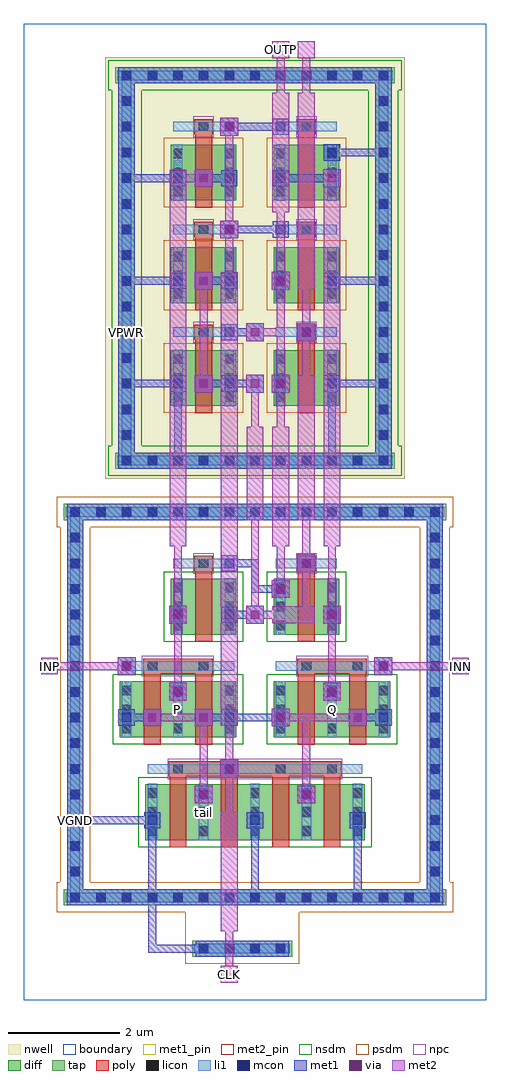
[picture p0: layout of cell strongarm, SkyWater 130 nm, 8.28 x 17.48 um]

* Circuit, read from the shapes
.subckt strongarm CLK INN INP OUTN OUTP P Q VGND VPWR tail
XM1 P INP tail VGND sky130_fd_pr__nfet_01v8 w=1 l=0.3 m=2
XM2 tail CLK VGND VGND sky130_fd_pr__nfet_01v8 w=1 l=0.3 m=4
XM3 OUTN OUTP P VGND sky130_fd_pr__nfet_01v8 w=1 l=0.3
XM4 Q INN tail VGND sky130_fd_pr__nfet_01v8 w=1 l=0.3 m=2
XM5 Q OUTN OUTP VGND sky130_fd_pr__nfet_01v8 w=1 l=0.3
XM6 OUTN OUTP VPWR VPWR sky130_fd_pr__pfet_01v8 w=1 l=0.3
XM7 OUTN CLK VPWR VPWR sky130_fd_pr__pfet_01v8 w=1 l=0.3
XM8 P CLK VPWR VPWR sky130_fd_pr__pfet_01v8 w=1 l=0.3
XM9 VPWR OUTN OUTP VPWR sky130_fd_pr__pfet_01v8 w=1 l=0.3
XM10 VPWR CLK OUTP VPWR sky130_fd_pr__pfet_01v8 w=1 l=0.3
XM11 VPWR CLK Q VPWR sky130_fd_pr__pfet_01v8 w=1 l=0.3
.ends

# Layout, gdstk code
import gdstk
lib = gdstk.Library(unit=1e-6, precision=1e-09)
def R(c, l, rs):  # rectangles x0, y0, x1, y1
    for r in rs: c.add(gdstk.rectangle(r[:2], r[2:], *l))
def A(c, l, x, y, w, h, nx, ny, dx, dy):  # array of equal rectangles
    R(c, l, [(x+i*dx, y+j*dy, x+i*dx+w, y+j*dy+h) for i in range(nx) for j in range(ny)])
nwell = (64, 20)
diff = (65, 20)
tap = (65, 44)
poly = (66, 20)
licon = (66, 44)
li1 = (67, 20)
mcon = (67, 44)
met1_pin = (68, 16)
met1 = (68, 20)
via = (68, 44)
met2_pin = (69, 16)
met2 = (69, 20)
nsdm = (93, 44)
psdm = (94, 20)
npc = (95, 20)
boundary = (235, 4)

strongarm = lib.new_cell('strongarm')
R(strongarm, nwell, [(1.455,9.335,6.825,16.885)])
A(strongarm, diff, 2.635, 10.64, 1.17, 1, 1, 3, 0, 1.84)
A(strongarm, diff, 4.475, 10.64, 1.17, 1, 1, 3, 0, 1.84)
R(strongarm, diff, [(2.175,2.865,6.105,3.865), (1.715,4.705,3.805,5.705), (4.475,4.705,6.565,5.705), (2.635,6.545,3.805,7.545), (4.475,6.545,5.645,7.545)])
R(strongarm, tap, [(3.015,0.775,4.805,1.065), (0.715,1.695,7.565,1.985), (0.775,1.695,1.065,8.885), (7.215,1.695,7.505,8.885), (0.715,8.595,7.565,8.885), (1.635,9.515,6.645,9.805), (1.695,9.515,1.985,16.705), (6.295,9.515,6.585,16.705), (1.635,16.415,6.645,16.705)])
A(strongarm, poly, 2.61, 2.735, 0.3, 1.405, 4, 1, 0.92, 0)
A(strongarm, poly, 3.07, 10.51, 0.3, 1.45, 1, 3, 0, 1.84)
A(strongarm, poly, 4.91, 10.51, 0.3, 1.45, 1, 3, 0, 1.84)
A(strongarm, poly, 3.055, 11.825, 0.33, 0.27, 1, 3, 0, 1.84)
A(strongarm, poly, 4.895, 11.825, 0.33, 0.27, 1, 3, 0, 1.84)
R(strongarm, poly, [(2.595,4.005,5.685,4.275), (2.15,4.575,2.45,5.98), (3.07,4.575,3.37,5.98), (4.91,4.575,5.21,5.98), (5.83,4.575,6.13,5.98), (2.135,5.845,3.385,6.115), (4.895,5.845,6.145,6.115), (3.07,6.415,3.37,7.82), (4.91,6.415,5.21,7.82), (3.055,7.685,3.385,7.955), (4.895,7.685,5.225,7.955)])
A(strongarm, licon, 3.135, 0.835, 0.17, 0.17, 4, 1, 0.46, 0)
A(strongarm, licon, 0.835, 1.755, 0.17, 0.17, 15, 2, 0.46, 6.9)
A(strongarm, licon, 0.835, 2.215, 0.17, 0.17, 1, 14, 0, 0.46)
A(strongarm, licon, 7.275, 2.215, 0.17, 0.17, 1, 14, 0, 0.46)
A(strongarm, licon, 2.215, 2.94, 0.17, 0.17, 5, 3, 0.92, 0.34)
A(strongarm, licon, 2.675, 4.055, 0.17, 0.17, 4, 2, 0.92, 2.565)
A(strongarm, licon, 1.755, 4.78, 0.17, 0.17, 6, 3, 0.92, 0.34)
A(strongarm, licon, 2.675, 6.96, 0.17, 0.17, 4, 2, 0.92, 0.34)
A(strongarm, licon, 1.755, 9.575, 0.17, 0.17, 11, 2, 0.46, 6.9)
A(strongarm, licon, 1.755, 10.035, 0.17, 0.17, 1, 14, 0, 0.46)
A(strongarm, licon, 6.355, 10.035, 0.17, 0.17, 1, 14, 0, 0.46)
A(strongarm, licon, 2.675, 10.715, 0.17, 0.17, 4, 3, 0.92, 0.34)
A(strongarm, licon, 3.135, 11.875, 0.17, 0.17, 1, 3, 0, 1.84)
A(strongarm, licon, 4.975, 11.875, 0.17, 0.17, 1, 3, 0, 1.84)
A(strongarm, licon, 2.675, 12.555, 0.17, 0.17, 4, 3, 0.92, 0.34)
A(strongarm, licon, 2.675, 14.395, 0.17, 0.17, 4, 3, 0.92, 0.34)
R(strongarm, licon, [(2.215,5.895,2.385,6.065), (3.135,5.895,3.305,6.065), (4.975,5.895,5.145,6.065), (5.895,5.895,6.065,6.065), (3.135,7.735,3.305,7.905), (4.975,7.735,5.145,7.905)])
A(strongarm, li1, 2.215, 2.86, 0.17, 1.01, 5, 1, 0.92, 0)
A(strongarm, li1, 1.755, 4.7, 0.17, 1.01, 6, 1, 0.92, 0)
A(strongarm, li1, 2.675, 6.54, 0.17, 1.01, 4, 2, 0.92, 4.095)
A(strongarm, li1, 2.675, 11.875, 1.09, 0.17, 1, 3, 0, 1.84)
A(strongarm, li1, 4.515, 11.875, 1.09, 0.17, 1, 3, 0, 1.84)
A(strongarm, li1, 2.675, 12.475, 0.17, 1.01, 4, 2, 0.92, 1.84)
R(strongarm, li1, [(3.055,0.835,4.765,1.005), (0.755,1.755,7.525,1.925), (0.835,1.755,1.005,8.825), (7.275,1.755,7.445,8.825), (2.215,4.055,6.065,4.225), (1.755,5.895,3.765,6.065), (4.515,5.895,6.525,6.065), (2.675,7.735,3.765,7.905), (4.515,7.735,5.605,7.905), (0.755,8.655,7.525,8.825), (1.675,9.575,6.605,9.745), (1.755,9.575,1.925,16.645), (6.355,9.575,6.525,16.645), (1.675,16.475,6.605,16.645)])
A(strongarm, mcon, 3.135, 0.835, 0.17, 0.17, 4, 1, 0.46, 0)
A(strongarm, mcon, 0.835, 1.755, 0.17, 0.17, 15, 2, 0.46, 6.9)
A(strongarm, mcon, 0.835, 2.215, 0.17, 0.17, 1, 14, 0, 0.46)
A(strongarm, mcon, 7.275, 2.215, 0.17, 0.17, 1, 10, 0, 0.46)
A(strongarm, mcon, 2.215, 3.135, 0.17, 0.17, 3, 1, 1.84, 0)
A(strongarm, mcon, 3.595, 6.815, 0.17, 0.17, 3, 1, 1.84, 0)
A(strongarm, mcon, 7.275, 7.275, 0.17, 0.17, 1, 3, 0, 0.46)
A(strongarm, mcon, 1.755, 9.575, 0.17, 0.17, 11, 2, 0.46, 6.9)
A(strongarm, mcon, 6.355, 10.495, 0.17, 0.17, 1, 4, 0, 0.92)
A(strongarm, mcon, 1.755, 10.955, 0.17, 0.17, 6, 2, 0.92, 1.84)
A(strongarm, mcon, 1.755, 11.415, 0.17, 0.17, 1, 3, 0, 0.46)
A(strongarm, mcon, 3.595, 11.875, 0.17, 0.17, 3, 1, 1.38, 0)
A(strongarm, mcon, 1.755, 13.255, 0.17, 0.17, 1, 3, 0, 0.46)
A(strongarm, mcon, 6.355, 13.715, 0.17, 0.17, 1, 6, 0, 0.46)
A(strongarm, mcon, 1.755, 14.635, 0.17, 0.17, 4, 1, 0.92, 0)
A(strongarm, mcon, 1.755, 15.095, 0.17, 0.17, 1, 3, 0, 0.46)
R(strongarm, mcon, [(3.135,3.595,3.305,3.765), (4.975,3.595,5.145,3.765), (3.595,4.055,3.765,4.225), (1.755,4.975,1.925,5.145), (3.595,4.975,3.765,5.145), (4.515,4.975,4.685,5.145), (6.355,4.975,6.525,5.145), (2.675,5.435,2.845,5.605), (5.435,5.435,5.605,5.605), (1.755,5.895,1.925,6.065), (6.355,5.895,6.525,6.065), (2.675,6.815,2.845,6.985), (4.515,7.275,4.685,7.445), (3.595,7.735,3.765,7.905), (4.975,7.735,5.145,7.905), (1.755,10.035,1.925,10.205), (6.355,10.035,6.525,10.205), (1.755,10.495,1.925,10.665), (3.595,13.715,3.765,13.885), (4.515,13.715,4.685,13.885), (5.435,15.095,5.605,15.265), (3.595,15.555,3.765,15.725), (4.515,15.555,4.685,15.725)])
R(strongarm, met1_pin, [(0.85,3.15,0.99,3.29), (1.77,10.97,1.91,12.95)])
A(strongarm, met1, 2.155, 3.075, 0.29, 0.29, 3, 1, 1.84, 0)
A(strongarm, met1, 4.9, 3.52, 0.32, 0.32, 1, 3, 0, 4.14)
A(strongarm, met1, 4.915, 3.535, 0.29, 0.29, 1, 3, 0, 4.14)
A(strongarm, met1, 3.06, 4.9, 0.32, 0.32, 3, 1, 1.38, 0)
A(strongarm, met1, 2.6, 6.74, 0.32, 0.32, 3, 1, 1.38, 0)
A(strongarm, met1, 3.06, 10.88, 0.32, 0.32, 1, 3, 0, 1.84)
A(strongarm, met1, 2.615, 10.895, 0.29, 0.29, 4, 2, 0.92, 1.84)
A(strongarm, met1, 1.77, 10.97, 1.06, 0.14, 1, 3, 0, 1.84)
A(strongarm, met1, 3.15, 10.97, 0.6, 0.14, 1, 3, 0, 1.84)
A(strongarm, met1, 3.535, 11.815, 0.29, 0.29, 1, 3, 0, 1.84)
A(strongarm, met1, 2.615, 14.575, 0.29, 0.29, 3, 1, 0.92, 0)
R(strongarm, met1, [(3.075,0.775,4.745,1.065), (2.23,0.85,3.29,0.99), (2.23,0.85,2.37,3.29), (3.15,0.85,3.29,0.99), (0.775,1.695,7.505,1.985), (0.775,1.695,1.065,8.885), (7.215,1.695,7.505,8.885), (2.23,1.77,4.21,1.91), (4.07,1.77,6.05,1.91), (4.07,1.77,4.21,3.29), (5.91,1.77,6.05,3.29), (0.85,3.15,0.99,3.29), (0.85,3.15,0.99,8.81), (0.85,3.15,2.37,3.29), (3.06,3.52,3.38,3.84), (3.075,3.535,3.365,3.825), (3.52,3.98,3.84,4.3), (3.535,3.995,3.825,4.285), (2.14,4.9,2.46,5.22), (1.695,4.915,1.985,5.205), (3.535,4.915,3.825,5.205), (4.455,4.915,4.745,5.205), (6.295,4.915,6.585,5.205), (1.77,4.99,2.37,5.13), (3.15,4.99,3.75,5.13), (3.61,4.99,4.67,5.13), (5.91,4.99,6.51,5.13), (2.6,5.36,2.92,5.68), (5.36,5.36,5.68,5.68), (2.615,5.375,2.905,5.665), (5.375,5.375,5.665,5.665), (1.68,5.82,2,6.14), (6.28,5.82,6.6,6.14), (1.695,5.835,1.985,6.125), (6.295,5.835,6.585,6.125), (2.615,6.755,2.905,7.045), (3.535,6.755,3.825,7.045), (5.375,6.755,5.665,7.045), (3.61,6.83,4.21,6.97), (4.44,7.2,4.76,7.52), (4.455,7.215,4.745,7.505), (4.07,7.29,4.67,7.43), (4.07,7.29,4.21,7.89), (3.535,7.675,3.825,7.965), (3.61,7.75,4.21,7.89), (0.775,8.595,7.505,8.885), (0.85,8.67,0.99,8.81), (1.695,9.515,1.985,16.705), (1.695,9.515,6.585,9.805), (6.295,9.515,6.585,16.705), (2.69,9.59,5.59,9.73), (2.69,9.59,2.83,11.11), (5.45,9.59,5.59,11.11), (3.98,10.88,4.3,11.2), (4.44,10.88,4.76,11.2), (1.77,10.97,1.91,12.95), (3.61,10.97,4.21,11.11), (5.45,10.97,6.51,11.11), (6.37,10.97,6.51,12.95), (3.98,11.8,4.3,12.12), (3.61,11.89,4.21,12.03), (4.44,12.72,4.76,13.04), (1.77,12.81,1.91,14.79), (5.45,12.81,6.51,12.95), (6.37,12.81,6.51,15.25), (3.52,13.64,3.84,13.96), (4.455,13.655,4.745,13.945), (3.61,13.73,4.67,13.87), (5.36,14.56,5.68,14.88), (4.53,14.65,5.59,14.79), (5.375,15.035,5.665,15.325), (5.45,15.11,6.51,15.25), (6.37,15.11,6.51,16.63), (6.37,15.11,6.51,15.25), (3.52,15.48,3.84,15.8), (4.455,15.495,4.745,15.785), (3.61,15.57,4.67,15.71), (1.695,16.415,6.585,16.705), (6.37,16.49,6.51,16.63)])
A(strongarm, via, 4.985, 3.605, 0.15, 0.15, 1, 3, 0, 4.14)
A(strongarm, via, 3.145, 4.985, 0.15, 0.15, 3, 1, 1.38, 0)
A(strongarm, via, 2.685, 6.825, 0.15, 0.15, 3, 1, 1.38, 0)
A(strongarm, via, 3.145, 10.965, 0.15, 0.15, 1, 3, 0, 1.84)
R(strongarm, via, [(3.145,3.605,3.295,3.755), (3.605,4.065,3.755,4.215), (2.225,4.985,2.375,5.135), (2.685,5.445,2.835,5.595), (5.445,5.445,5.595,5.595), (1.765,5.905,1.915,6.055), (6.365,5.905,6.515,6.055), (4.525,7.285,4.675,7.435), (4.065,10.965,4.215,11.115), (4.525,10.965,4.675,11.115), (4.065,11.885,4.215,12.035), (4.525,12.805,4.675,12.955), (3.605,13.725,3.755,13.875), (5.445,14.645,5.595,14.795), (3.605,15.565,3.755,15.715)])
R(strongarm, met2_pin, [(3.53,0.31,3.83,0.61), (0.31,5.83,0.61,6.13), (7.67,5.83,7.97,6.13), (4.45,16.87,4.75,17.17), (4.91,16.87,5.21,17.17)])
A(strongarm, met2, 4.9, 3.52, 0.32, 0.32, 1, 3, 0, 4.14)
A(strongarm, met2, 3.06, 4.9, 0.32, 0.32, 3, 1, 1.38, 0)
A(strongarm, met2, 2.6, 6.74, 0.32, 0.32, 3, 1, 1.38, 0)
A(strongarm, met2, 3.06, 10.88, 0.32, 0.32, 1, 3, 0, 1.84)
R(strongarm, met2, [(3.53,0.31,3.83,0.61), (3.61,0.39,3.75,1.45), (3.61,0.39,3.75,0.53), (3.53,1.23,3.83,3.37), (3.61,3.15,3.75,4.21), (3.06,3.52,3.38,3.84), (3.15,3.61,3.29,5.13), (4.99,3.61,5.13,5.13), (3.52,3.98,3.84,4.3), (3.61,4.07,3.75,5.13), (2.14,4.9,2.46,5.22), (3.53,4.91,3.83,13.03), (2.23,4.99,3.29,5.13), (4.53,4.99,5.13,5.13), (4.99,4.99,6.05,5.13), (2.6,5.36,2.92,5.68), (5.36,5.36,5.68,5.68), (2.69,5.45,2.83,6.97), (5.45,5.45,5.59,6.97), (1.68,5.82,2,6.14), (6.28,5.82,6.6,6.14), (0.31,5.83,0.61,6.13), (7.67,5.83,7.97,6.13), (0.39,5.91,0.53,6.05), (0.39,5.91,1.91,6.05), (6.37,5.91,7.89,6.05), (7.75,5.91,7.89,6.05), (4.45,6.75,5.21,7.05), (2.69,6.83,2.83,8.35), (4.07,6.83,4.21,8.81), (4.07,6.83,4.67,6.97), (4.99,6.83,5.13,7.89), (5.45,6.83,5.59,8.35), (4.44,7.2,4.76,7.52), (4.53,7.29,4.67,8.35), (4.99,7.75,5.13,8.81), (2.61,8.13,2.91,14.87), (4.45,8.13,4.75,10.27), (5.37,8.13,5.67,14.87), (3.99,8.59,4.29,10.27), (4.91,8.59,5.21,11.19), (4.07,10.05,4.21,11.11), (4.53,10.05,4.67,11.11), (3.98,10.88,4.3,11.2), (4.44,10.88,4.76,11.2), (3.15,10.97,3.29,12.95), (4.53,10.97,4.67,12.95), (4.99,10.97,5.13,12.03), (3.98,11.8,4.3,12.12), (4.07,11.89,4.67,12.03), (4.99,11.89,5.13,12.95), (4.44,12.72,4.76,13.04), (4.91,12.73,5.21,16.25), (3.61,12.81,3.75,13.87), (4.53,12.81,4.67,14.33), (3.52,13.64,3.84,13.96), (3.61,13.73,3.75,15.71), (4.45,14.11,4.75,16.25), (5.36,14.56,5.68,14.88), (2.69,14.65,3.29,14.79), (3.52,15.48,3.84,15.8), (4.53,16.03,4.67,17.09), (4.99,16.03,5.13,17.09), (4.45,16.87,4.75,17.17), (4.91,16.87,5.21,17.17), (4.53,16.95,4.67,17.09), (4.99,16.95,5.13,17.09)])
R(strongarm, nsdm, [(2.05,2.74,6.23,3.99), (1.59,4.58,3.93,5.83), (4.35,4.58,6.69,5.83), (2.51,6.42,3.93,7.67), (4.35,6.42,5.77,7.67), (1.51,9.39,6.77,9.93), (1.57,9.93,2.11,16.29), (6.17,9.93,6.71,16.29), (1.51,16.29,6.77,16.83)])
A(strongarm, psdm, 2.51, 10.515, 1.42, 1.25, 1, 3, 0, 1.84)
A(strongarm, psdm, 4.35, 10.515, 1.42, 1.25, 1, 3, 0, 1.84)
R(strongarm, psdm, [(2.89,0.65,4.93,1.57), (0.59,1.57,7.69,2.11), (0.65,2.11,1.19,8.47), (7.09,2.11,7.63,8.47), (0.59,8.47,7.69,9.01)])
A(strongarm, npc, 3.035, 11.775, 0.37, 0.37, 1, 3, 0, 1.84)
A(strongarm, npc, 4.875, 11.775, 0.37, 0.37, 1, 3, 0, 1.84)
R(strongarm, npc, [(2.575,3.955,5.705,4.325), (2.115,5.795,3.405,6.165), (4.875,5.795,6.165,6.165), (3.035,7.635,3.405,8.005), (4.875,7.635,5.245,8.005)])
R(strongarm, boundary, [(0,0,8.28,17.48)])
strongarm.add(gdstk.Label('tail', (3.22,3.365), layer=67, texttype=5))
strongarm.add(gdstk.Label('P', (2.76,5.205), layer=67, texttype=5))
strongarm.add(gdstk.Label('Q', (5.52,5.205), layer=67, texttype=5))
strongarm.add(gdstk.Label('VPWR', (1.84,11.96), layer=68, texttype=5))
strongarm.add(gdstk.Label('VGND', (0.92,3.22), layer=68, texttype=5))
strongarm.add(gdstk.Label('CLK', (3.68,0.46), layer=69, texttype=5))
strongarm.add(gdstk.Label('INP', (0.46,5.98), layer=69, texttype=5))
strongarm.add(gdstk.Label('INN', (7.82,5.98), layer=69, texttype=5))
strongarm.add(gdstk.Label('OUTP', (4.6,17.02), layer=69, texttype=5))
strongarm.add(gdstk.Label('OUTN', (5.06,17.02), layer=69, texttype=5))
strongarm.add(gdstk.Label('VPWR', (1.84,11.96), layer=68, texttype=16))
strongarm.add(gdstk.Label('VGND', (0.92,3.22), layer=68, texttype=16))
strongarm.add(gdstk.Label('CLK', (3.68,0.46), layer=69, texttype=16))
strongarm.add(gdstk.Label('INP', (0.46,5.98), layer=69, texttype=16))
strongarm.add(gdstk.Label('INN', (7.82,5.98), layer=69, texttype=16))
strongarm.add(gdstk.Label('OUTP', (4.6,17.02), layer=69, texttype=16))
strongarm.add(gdstk.Label('OUTN', (5.06,17.02), layer=69, texttype=16))

lib.write_gds('strongarm.gds')
